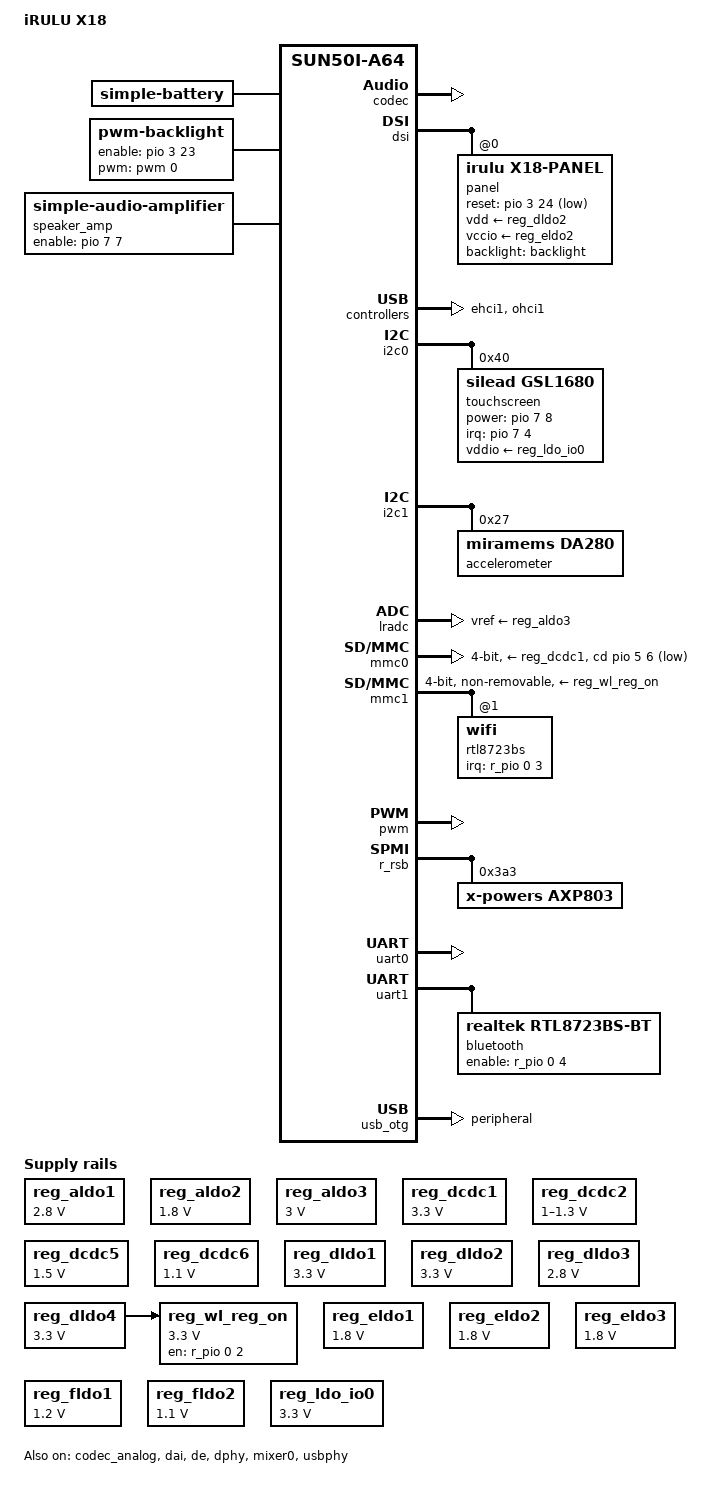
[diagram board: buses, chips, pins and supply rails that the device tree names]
// SPDX-License-Identifier: (GPL-2.0+ OR MIT)
/*
 * iRULU X18 8" tablet, sold as "iRULU eXpro X1S" (Allwinner A64, AXP803,
 * JD9365 MIPI-DSI panel, Silead GSL touch, RTL8723BS Wi-Fi/BT)
 *
 * Derived from the vendor's Android 5.1 (Linux 3.10 BSP) device tree and
 * the runtime state of the stock firmware. Remaining TODOs are untested
 * parts (accelerometer, cameras, keys).
 */

/dts-v1/;

#include "sun50i-a64.dtsi"
#include "sun50i-a64-cpu-opp.dtsi"

#include <dt-bindings/gpio/gpio.h>
#include <dt-bindings/input/input.h>
#include <dt-bindings/interrupt-controller/irq.h>
#include <dt-bindings/pwm/pwm.h>

/ {
	model = "iRULU X18";
	compatible = "irulu,x18", "allwinner,sun50i-a64";

	aliases {
		serial0 = &uart0;
		ethernet0 = &rtl8723bs;
	};

	chosen {
		stdout-path = "serial0:115200n8";
	};

	/* Values from the vendor sys_config (pmu0 node) */
	battery: battery {
		compatible = "simple-battery";
		charge-full-design-microamp-hours = <4000000>;	/* pmu_battery_cap */
		voltage-min-design-microvolt = <3300000>;	/* pmu_pwroff_vol */
		voltage-max-design-microvolt = <4200000>;	/* pmu_init_chgvol */
		constant-charge-current-max-microamp = <1800000>; /* pmu_suspend_chgcur */
		constant-charge-voltage-max-microvolt = <4200000>;
	};

	backlight: backlight {
		compatible = "pwm-backlight";
		/* BSP: lcd_pwm_ch=0, lcd_pwm_freq=50000 Hz, lcd_pwm_pol=1 */
		pwms = <&pwm 0 20000 PWM_POLARITY_INVERTED>;
		enable-gpios = <&pio 3 23 GPIO_ACTIVE_HIGH>; /* PD23 lcd_bl_en */
		brightness-levels = <0 1000>;
		num-interpolated-steps = <1000>;
		default-brightness-level = <400>;
	};

	speaker_amp: audio-amplifier {
		compatible = "simple-audio-amplifier";
		enable-gpios = <&pio 7 7 GPIO_ACTIVE_HIGH>; /* PH7 gpio-spk */
		sound-name-prefix = "Speaker Amp";
	};

	/*
	 * WL_REG_ON as a regulator instead of mmc-pwrseq-simple: on 6.18 the
	 * latter fails with "reset control not ready" (-ENOENT) for a single
	 * reset GPIO.
	 */
	reg_wl_reg_on: regulator-wl-reg-on {
		compatible = "regulator-fixed";
		regulator-name = "wl-reg-on";
		regulator-min-microvolt = <3300000>;
		regulator-max-microvolt = <3300000>;
		vin-supply = <&reg_dldo4>;
		gpio = <&r_pio 0 2 GPIO_ACTIVE_HIGH>; /* PL2 wlan_regon */
		enable-active-high;
		startup-delay-us = <200000>;
	};
};

&codec {
	status = "okay";
};

&codec_analog {
	cpvdd-supply = <&reg_eldo1>;
	status = "okay";
};

&cpu0 {
	cpu-supply = <&reg_dcdc2>;
};

&cpu1 {
	cpu-supply = <&reg_dcdc2>;
};

&cpu2 {
	cpu-supply = <&reg_dcdc2>;
};

&cpu3 {
	cpu-supply = <&reg_dcdc2>;
};

&dai {
	status = "okay";
};

&de {
	status = "okay";
};

&dphy {
	status = "okay";
};

&dsi {
	vcc-dsi-supply = <&reg_dldo1>; /* vcc-dsi-33 */
	status = "okay";

	panel@0 {
		/*
		 * LT080B21BA94, 800x1280, 4-lane DSI, Jadard JD9365 controller.
		 * Needs patches/0001-drm-panel-jadard-add-iRULU-X18-panel.patch.
		 */
		compatible = "irulu,x18-panel", "jadard,jd9365da-h3";
		reg = <0>;
		reset-gpios = <&pio 3 24 GPIO_ACTIVE_LOW>; /* PD24 lcd_gpio_1 */
		vdd-supply = <&reg_dldo2>;	/* vcc-lcd 3.3V */
		vccio-supply = <&reg_eldo2>;	/* vcc-mipi 1.8V */
		backlight = <&backlight>;
	};
};

/*
 * ehci0/ohci0 share PHY 0 with the OTG controller. Enabling them makes the
 * USB core switch PHY 0 to host mode ("Changing dr_mode to 1"), which kills
 * peripheral mode. Leave them disabled while usb_otg is peripheral-only.
 */

&ehci1 {
	status = "okay";
};

&i2c0 {
	pinctrl-names = "default";
	pinctrl-0 = <&i2c0_pins>; /* PH0/PH1 */
	status = "okay";

	touchscreen@40 {
		compatible = "silead,gsl1680";
		reg = <0x40>;
		interrupt-parent = <&pio>;
		interrupts = <7 4 IRQ_TYPE_EDGE_FALLING>; /* PH4 ctp_int_port */
		power-gpios = <&pio 7 8 GPIO_ACTIVE_HIGH>; /* PH8 ctp_wakeup */
		vddio-supply = <&reg_ldo_io0>; /* vcc-ctp */
		firmware-name = "gsl1680-irulu-x18.fw";
		/*
		 * Raw chip axes (before the swap), measured with evtest:
		 * raw X = vertical 35..1698, raw Y = horizontal 0..1151.
		 * The firmware doesn't scale to the 800x1280 panel.
		 */
		touchscreen-min-x = <35>;
		touchscreen-size-x = <1699>;
		touchscreen-size-y = <1152>;
		touchscreen-swapped-x-y;
		silead,max-fingers = <10>;
	};
};

&i2c1 {
	pinctrl-names = "default";
	pinctrl-0 = <&i2c1_pins>; /* PH2/PH3 */
	status = "okay";

	/*
	 * MiraMEMS "mir3da" accelerometer (BSP DT says 0x1d, the chip is at
	 * 0x27). Chip ID 0x13 and register map as DA280. Its interrupt on
	 * PH5 is left out: the da280 driver only polls.
	 */
	accelerometer@27 {
		compatible = "miramems,da280";
		reg = <0x27>;
	};
};

&lradc {
	vref-supply = <&reg_aldo3>;
	status = "okay";

	/*
	 * BSP "keyboard_2000mv" upper thresholds in mV:
	 * 240 VOLUMEUP, 500 VOLUMEDOWN, 700 MENU, 890 ENTER, 2000 HOME.
	 * TODO: measure real voltages, the tablet likely only has vol+/vol-.
	 */
	button-200 {
		label = "Volume Up";
		linux,code = <KEY_VOLUMEUP>;
		channel = <0>;
		voltage = <200000>;
	};

	button-400 {
		label = "Volume Down";
		linux,code = <KEY_VOLUMEDOWN>;
		channel = <0>;
		voltage = <400000>;
	};
};

&mixer0 {
	status = "okay";
};

&mmc0 {
	vmmc-supply = <&reg_dcdc1>; /* vcc-sdc */
	cd-gpios = <&pio 5 6 GPIO_ACTIVE_LOW>; /* PF6 */
	disable-wp;
	bus-width = <4>;
	status = "okay";
};

&mmc1 {
	pinctrl-names = "default";
	pinctrl-0 = <&mmc1_pins>;
	vmmc-supply = <&reg_wl_reg_on>; /* vcc-wifi-io, switched by WL_REG_ON */
	vqmmc-supply = <&reg_dldo4>; /* vcc-pg */
	bus-width = <4>;
	non-removable;
	status = "okay";

	rtl8723bs: wifi@1 {
		reg = <1>;
		interrupt-parent = <&r_pio>;
		interrupts = <0 3 IRQ_TYPE_LEVEL_LOW>; /* PL3 wlan_hostwake */
		interrupt-names = "host-wake";
	};
};

/* The internal raw NAND (Allwinner proprietary FTL) is not usable. */

&ohci1 {
	status = "okay";
};

&pio {
	vcc-pb-supply = <&reg_dcdc1>;
	vcc-pc-supply = <&reg_eldo1>;	/* BSP: eldo1 -> vcc-pc */
	vcc-pd-supply = <&reg_dcdc1>;
	vcc-pe-supply = <&reg_aldo1>;	/* TODO: CSI bank, unverified */
	vcc-pf-supply = <&reg_dcdc1>;
	vcc-pg-supply = <&reg_dldo4>;
	vcc-ph-supply = <&reg_dcdc1>;
};

&pwm {
	status = "okay";
};

&r_rsb {
	status = "okay";

	/* BSP: pmu_id=6 (AXP81x family), axp81x regulators */
	axp803: pmic@3a3 {
		compatible = "x-powers,axp803";
		reg = <0x3a3>;
		interrupt-parent = <&r_intc>;
		interrupts = <GIC_SPI 32 IRQ_TYPE_LEVEL_LOW>;
		x-powers,drive-vbus-en;
	};
};

#include "axp803.dtsi"

&ac_power_supply {
	status = "okay";
};

/* Required by usbphy (usb0_vbus_power-supply), otherwise USB never probes */
&usb_power_supply {
	status = "okay";
};

&battery_power_supply {
	monitored-battery = <&battery>;
	status = "okay";
};

&reg_aldo1 {
	regulator-min-microvolt = <2800000>;
	regulator-max-microvolt = <2800000>;
	regulator-name = "iovdd-csi";
};

&reg_aldo2 {
	regulator-always-on;
	regulator-min-microvolt = <1800000>;
	regulator-max-microvolt = <1800000>;
	regulator-name = "vcc-pl";
};

&reg_aldo3 {
	regulator-always-on;
	regulator-min-microvolt = <3000000>;
	regulator-max-microvolt = <3000000>;
	regulator-name = "vcc-pll-avcc";
};

&reg_dc1sw {
	regulator-name = "vcc-dc1sw";
};

&reg_dcdc1 {
	regulator-always-on;
	regulator-min-microvolt = <3300000>;
	regulator-max-microvolt = <3300000>;
	regulator-name = "vcc-3v3";
};

&reg_dcdc2 {
	regulator-always-on;
	regulator-min-microvolt = <1000000>;
	regulator-max-microvolt = <1300000>;
	regulator-name = "vdd-cpux";
};

/* BSP shows dcdc3 enabled at 1.1V with no users; left alone like on the PineTab. */

&reg_dcdc5 {
	regulator-always-on;
	regulator-min-microvolt = <1500000>; /* DDR3 (not DDR3L) */
	regulator-max-microvolt = <1500000>;
	regulator-name = "vcc-dram";
};

&reg_dcdc6 {
	regulator-always-on;
	regulator-min-microvolt = <1100000>;
	regulator-max-microvolt = <1100000>;
	regulator-name = "vdd-sys";
};

&reg_dldo1 {
	regulator-min-microvolt = <3300000>;
	regulator-max-microvolt = <3300000>;
	regulator-name = "vcc-dsi-hdmi";
};

&reg_dldo2 {
	regulator-min-microvolt = <3300000>;
	regulator-max-microvolt = <3300000>;
	regulator-name = "vcc-lcd";
};

&reg_dldo3 {
	regulator-min-microvolt = <2800000>;
	regulator-max-microvolt = <2800000>;
	regulator-name = "avdd-csi";
};

&reg_dldo4 {
	regulator-min-microvolt = <3300000>;
	regulator-max-microvolt = <3300000>;
	regulator-name = "vcc-wifi-io";
};

&reg_drivevbus {
	regulator-name = "usb0-vbus";
	status = "okay";
};

&reg_eldo1 {
	regulator-always-on;
	regulator-min-microvolt = <1800000>;
	regulator-max-microvolt = <1800000>;
	regulator-name = "cpvdd";
};

&reg_eldo2 {
	regulator-min-microvolt = <1800000>;
	regulator-max-microvolt = <1800000>;
	regulator-name = "vcc-mipi";
};

&reg_eldo3 {
	regulator-min-microvolt = <1800000>;
	regulator-max-microvolt = <1800000>;
	regulator-name = "dvdd-csi";
};

&reg_fldo1 {
	regulator-min-microvolt = <1200000>;
	regulator-max-microvolt = <1200000>;
	regulator-name = "vcc-1v2-hsic";
};

&reg_fldo2 {
	regulator-always-on;
	regulator-min-microvolt = <1100000>;
	regulator-max-microvolt = <1100000>;
	regulator-name = "vdd-cpus";
};

&reg_ldo_io0 {
	regulator-min-microvolt = <3300000>;
	regulator-max-microvolt = <3300000>;
	regulator-name = "vcc-ctp";
	status = "okay";
};

&reg_rtc_ldo {
	regulator-name = "vcc-rtc";
};

&sound {
	simple-audio-card,aux-devs = <&codec_analog>, <&speaker_amp>;
	simple-audio-card,widgets = "Microphone", "Internal Microphone",
				    "Headphone", "Headphone Jack",
				    "Speaker", "Internal Speaker";
	simple-audio-card,routing =
			"Left DAC", "DACL",
			"Right DAC", "DACR",
			"Speaker Amp INL", "LINEOUT",
			"Speaker Amp INR", "LINEOUT",
			"Internal Speaker", "Speaker Amp OUTL",
			"Internal Speaker", "Speaker Amp OUTR",
			"Headphone Jack", "HP",
			"ADCL", "Left ADC",
			"ADCR", "Right ADC",
			"Internal Microphone", "MBIAS",
			"MIC1", "Internal Microphone";
	status = "okay";
};

/* Debug UART: PB8/PB9 test pads, or PF2/PF4 via a microSD breakout */
&uart0 {
	pinctrl-names = "default";
	pinctrl-0 = <&uart0_pb_pins>;
	status = "okay";
};

&uart1 {
	pinctrl-names = "default";
	pinctrl-0 = <&uart1_pins>, <&uart1_rts_cts_pins>;
	uart-has-rtscts;
	status = "okay";

	bluetooth {
		compatible = "realtek,rtl8723bs-bt";
		enable-gpios = <&r_pio 0 4 GPIO_ACTIVE_HIGH>; /* PL4 bt_rst_n */
	};
};

&usb_otg {
	/*
	 * Forced to peripheral for headless bring-up (USB ethernet gadget).
	 * Switch back to "otg" once the ID pin handling is verified.
	 */
	dr_mode = "peripheral";
	status = "okay";
};

&usbphy {
	usb0_id_det-gpios = <&pio 7 9 GPIO_ACTIVE_HIGH>; /* PH9 */
	usb0_vbus_power-supply = <&usb_power_supply>;
	usb0_vbus-supply = <&reg_drivevbus>;
	status = "okay";
};
